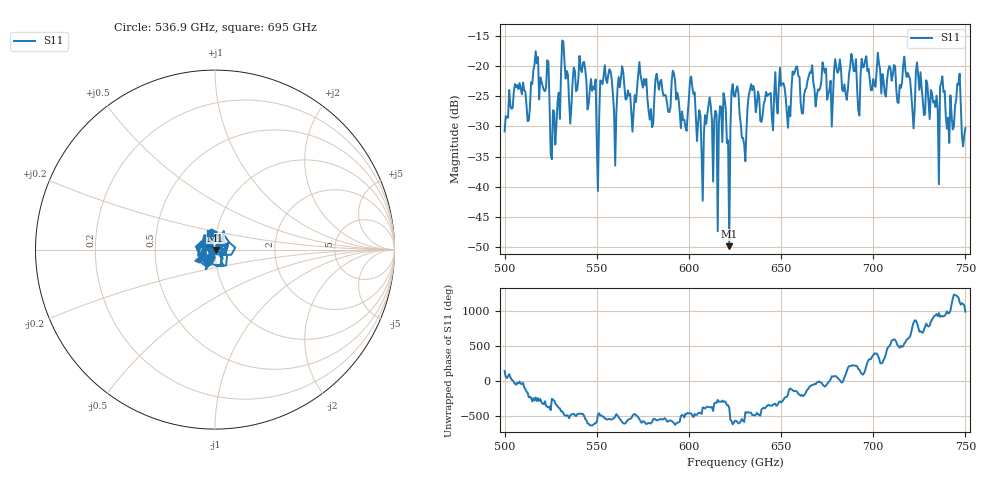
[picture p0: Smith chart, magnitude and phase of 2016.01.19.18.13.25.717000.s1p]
!Created with skrf (http://scikit-rf.org).
# GHz S RI R 50.0
!freq ReS11 ImS11
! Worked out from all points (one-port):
!   401 points, 500 GHz to 750 GHz, reference 50 ohm
!   lowest |S11| = -49.8 dB at 621.9 GHz (marker M1), VSWR 1.01, Z = 50.3 - j0.16 ohm
!   |S11| at or under -10 dB: start of sweep to end of sweep
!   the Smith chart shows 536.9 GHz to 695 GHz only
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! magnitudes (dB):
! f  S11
! 500 GHz  -30.8
! 513.1 GHz  -29.0
! 516.9 GHz  -17.6
! 526.2 GHz  -27.3
! 531.2 GHz  -15.8
! 535.6 GHz  -29.5
! 541.9 GHz  -21.0
! 550 GHz  -32.3
! 553.1 GHz  -23.0
! 560 GHz  -36.5
! 562.5 GHz  -23.5
! 593.8 GHz  -24.4
! 598.1 GHz  -30.2
! 601.9 GHz  -23.6
! 608.1 GHz  -31.1
! 611.2 GHz  -25.2
! 614.4 GHz  -27.4
! 618.8 GHz  -24.5
! 621.9 GHz  -49.8
! 625 GHz  -25.1
! 630 GHz  -33.1
! 633.8 GHz  -23.0
! 656.2 GHz  -20.9
! 687.5 GHz  -20.1
! 718.8 GHz  -21.1
! 734.4 GHz  -24.9
! 746.2 GHz  -23.1
! 750 GHz  -30.3
